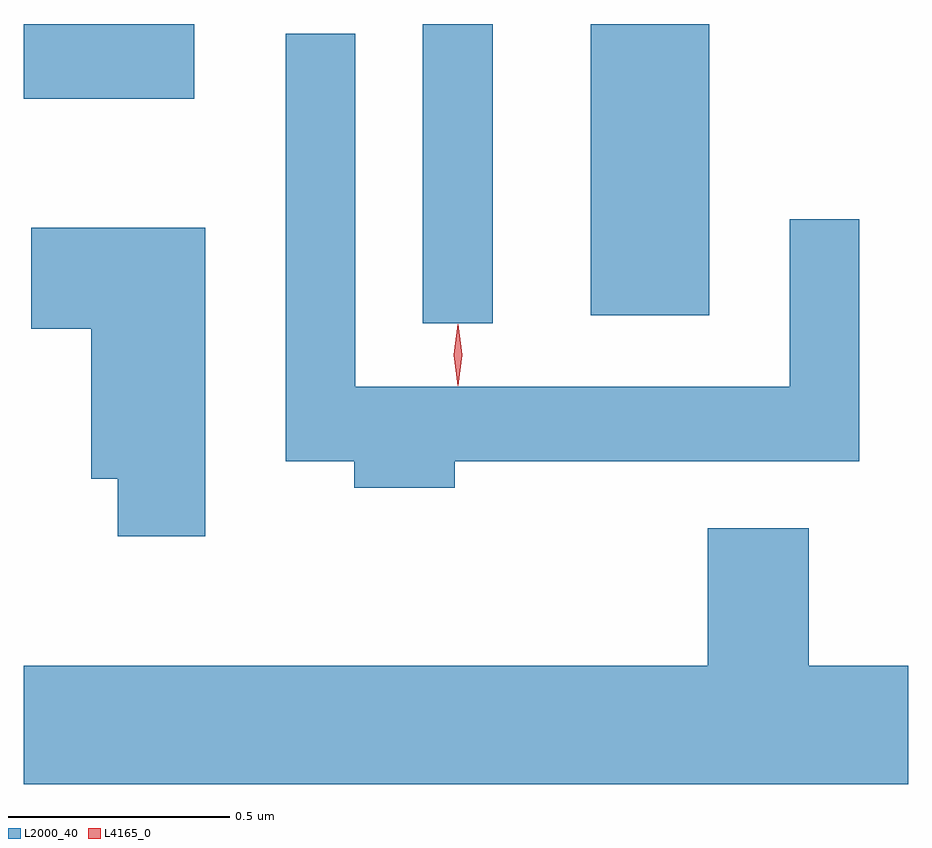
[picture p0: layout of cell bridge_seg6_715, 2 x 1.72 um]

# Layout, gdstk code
import gdstk
lib = gdstk.Library(unit=1e-6, precision=1e-09)
def R(c, l, rs):  # rectangles x0, y0, x1, y1
    for r in rs: c.add(gdstk.rectangle(r[:2], r[2:], *l))
def P(c, l, *ps):  # polygons
    for p in ps: c.add(gdstk.Polygon(p, *l))
L2000_40 = (2000, 40)
L4165_0 = (4165, 0)

bridge_seg6_715 = lib.new_cell('bridge_seg6_715')
R(bridge_seg6_715, L2000_40, [(311.446,1566.618,311.604,1567.295), (311.826,1566.636,312.094,1567.295)])
P(bridge_seg6_715, L2000_40, [(310.929,1567.295),(310.771,1567.295),(310.771,1567.294),(310.544,1567.294),(310.544,1567.126),(310.929,1567.126)],
  [(311.519,1566.306),(312.434,1566.306),(312.434,1566.853),(312.276,1566.853),(312.276,1566.474),(311.294,1566.474),(311.294,1567.273),(311.136,1567.273),(311.136,1566.306),(311.291,1566.306),(311.291,1566.246),(311.519,1566.246)],
  [(310.954,1566.834),(310.561,1566.834),(310.561,1566.606),(310.696,1566.606),(310.696,1566.266),(310.756,1566.266),(310.756,1566.136),(310.954,1566.136)],
  [(312.544,1565.844),(312.319,1565.844),(312.319,1566.154),(312.091,1566.154),(312.091,1565.844),(310.544,1565.844),(310.544,1565.576),(312.544,1565.576)])
P(bridge_seg6_715, L4165_0, [(311.525,1566.48),(311.516,1566.546),(311.525,1566.612),(311.526,1566.613),(311.526,1566.612),(311.536,1566.546),(311.526,1566.48),(311.526,1566.48)],
  [(311.525,1566.477),(311.516,1566.547),(311.525,1566.616),(311.526,1566.616),(311.526,1566.616),(311.536,1566.547),(311.526,1566.477),(311.526,1566.477)])

lib.write_gds('bridge_seg6_715.gds')
